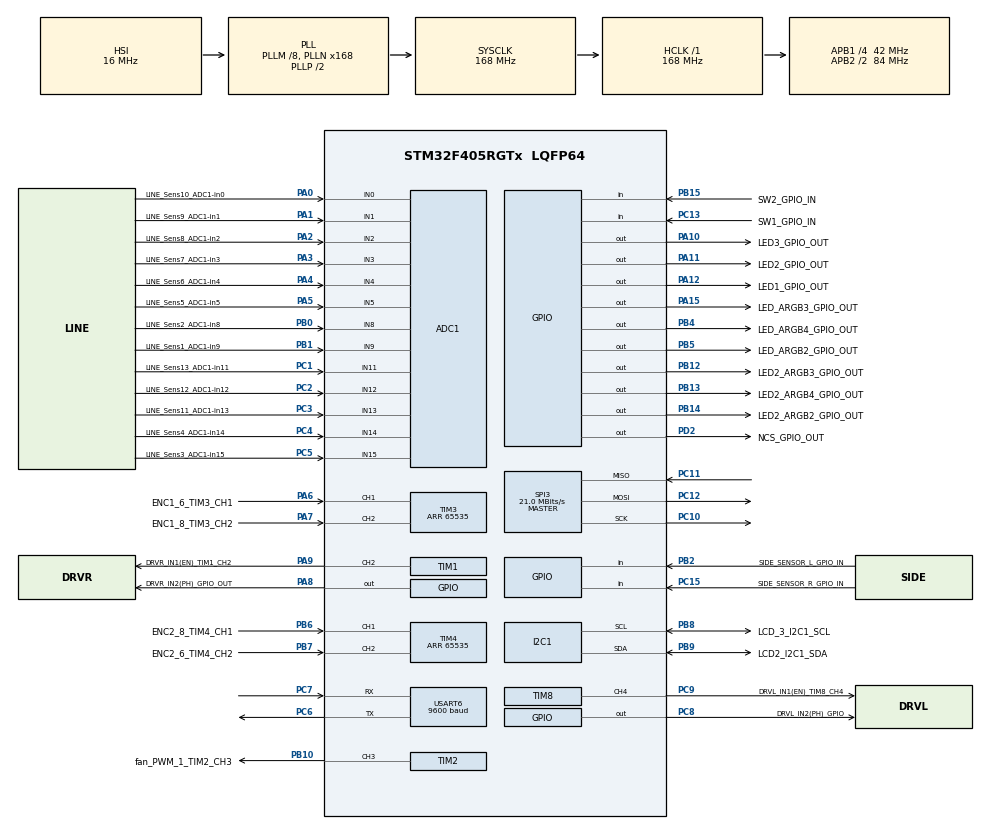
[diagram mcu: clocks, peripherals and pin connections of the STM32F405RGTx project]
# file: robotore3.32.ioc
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ADC1.Channel-0\#ChannelRegularConversion=ADC_CHANNEL_9
ADC1.Channel-1\#ChannelRegularConversion=ADC_CHANNEL_8
ADC1.Channel-10\#ChannelRegularConversion=ADC_CHANNEL_13
ADC1.Channel-11\#ChannelRegularConversion=ADC_CHANNEL_12
ADC1.Channel-12\#ChannelRegularConversion=ADC_CHANNEL_11
ADC1.Channel-2\#ChannelRegularConversion=ADC_CHANNEL_15
ADC1.Channel-3\#ChannelRegularConversion=ADC_CHANNEL_14
ADC1.Channel-4\#ChannelRegularConversion=ADC_CHANNEL_5
ADC1.Channel-5\#ChannelRegularConversion=ADC_CHANNEL_4
ADC1.Channel-6\#ChannelRegularConversion=ADC_CHANNEL_3
ADC1.Channel-7\#ChannelRegularConversion=ADC_CHANNEL_2
ADC1.Channel-8\#ChannelRegularConversion=ADC_CHANNEL_1
ADC1.Channel-9\#ChannelRegularConversion=ADC_CHANNEL_0
ADC1.ClockPrescaler=ADC_CLOCK_SYNC_PCLK_DIV4
ADC1.ContinuousConvMode=ENABLE
ADC1.DMAContinuousRequests=ENABLE
ADC1.NbrOfConversion=13
ADC1.NbrOfConversionFlag=1
ADC1.Rank-0\#ChannelRegularConversion=1
ADC1.Rank-1\#ChannelRegularConversion=2
ADC1.Rank-10\#ChannelRegularConversion=11
ADC1.Rank-11\#ChannelRegularConversion=12
ADC1.Rank-12\#ChannelRegularConversion=13
ADC1.Rank-2\#ChannelRegularConversion=3
ADC1.Rank-3\#ChannelRegularConversion=4
ADC1.Rank-4\#ChannelRegularConversion=5
ADC1.Rank-5\#ChannelRegularConversion=6
ADC1.Rank-6\#ChannelRegularConversion=7
ADC1.Rank-7\#ChannelRegularConversion=8
ADC1.Rank-8\#ChannelRegularConversion=9
ADC1.Rank-9\#ChannelRegularConversion=10
ADC1.SamplingTime-0\#ChannelRegularConversion=ADC_SAMPLETIME_480CYCLES
ADC1.SamplingTime-1\#ChannelRegularConversion=ADC_SAMPLETIME_480CYCLES
ADC1.SamplingTime-10\#ChannelRegularConversion=ADC_SAMPLETIME_480CYCLES
ADC1.SamplingTime-11\#ChannelRegularConversion=ADC_SAMPLETIME_480CYCLES
ADC1.SamplingTime-12\#ChannelRegularConversion=ADC_SAMPLETIME_480CYCLES
ADC1.SamplingTime-2\#ChannelRegularConversion=ADC_SAMPLETIME_480CYCLES
ADC1.SamplingTime-3\#ChannelRegularConversion=ADC_SAMPLETIME_480CYCLES
ADC1.SamplingTime-4\#ChannelRegularConversion=ADC_SAMPLETIME_480CYCLES
ADC1.SamplingTime-5\#ChannelRegularConversion=ADC_SAMPLETIME_480CYCLES
ADC1.SamplingTime-6\#ChannelRegularConversion=ADC_SAMPLETIME_480CYCLES
ADC1.SamplingTime-7\#ChannelRegularConversion=ADC_SAMPLETIME_480CYCLES
ADC1.SamplingTime-8\#ChannelRegularConversion=ADC_SAMPLETIME_480CYCLES
ADC1.SamplingTime-9\#ChannelRegularConversion=ADC_SAMPLETIME_480CYCLES
ADC1.ScanConvMode=ENABLE
ADC1.master=1
Dma.ADC1.0.Direction=DMA_PERIPH_TO_MEMORY
Dma.ADC1.0.FIFOMode=DMA_FIFOMODE_DISABLE
Dma.ADC1.0.Instance=DMA2_Stream0
Dma.ADC1.0.MemDataAlignment=DMA_MDATAALIGN_HALFWORD
Dma.ADC1.0.MemInc=DMA_MINC_ENABLE
Dma.ADC1.0.Mode=DMA_CIRCULAR
Dma.ADC1.0.PeriphDataAlignment=DMA_PDATAALIGN_HALFWORD
Dma.ADC1.0.PeriphInc=DMA_PINC_DISABLE
Dma.ADC1.0.Priority=DMA_PRIORITY_LOW
Dma.Request0=ADC1
Mcu.Family=STM32F4
Mcu.Name=STM32F405RGTx
Mcu.Package=LQFP64
NVIC.DMA2_Stream0_IRQn=true\:0\:0\:false\:false\:true\:false\:true\:true
NVIC.PriorityGroup=NVIC_PRIORITYGROUP_4
NVIC.TIM6_DAC_IRQn=true\:0\:0\:false\:false\:true\:true\:true\:true
NVIC.TIM7_IRQn=true\:0\:0\:false\:false\:true\:true\:true\:true
PA0-WKUP.GPIO_Label=LINE_Sens10_ADC1-in0
PA0-WKUP.Signal=ADCx_IN0
PA1.GPIO_Label=LINE_Sens9_ADC1-in1
PA1.Signal=ADCx_IN1
PA10.GPIO_Label=LED3_GPIO_OUT
PA10.Signal=GPIO_Output
PA11.GPIO_Label=LED2_GPIO_OUT
PA11.Signal=GPIO_Output
PA12.GPIO_Label=LED1_GPIO_OUT
PA12.Signal=GPIO_Output
PA13.Mode=Trace_Asynchronous_SW
PA13.Signal=SYS_JTMS-SWDIO
PA14.Mode=Trace_Asynchronous_SW
PA14.Signal=SYS_JTCK-SWCLK
PA15.GPIO_Label=LED_ARGB3_GPIO_OUT
PA15.Signal=GPIO_Output
PA2.GPIO_Label=LINE_Sens8_ADC1-in2
PA2.Signal=ADCx_IN2
PA3.GPIO_Label=LINE_Sens7_ADC1-in3
PA3.Signal=ADCx_IN3
PA4.GPIO_Label=LINE_Sens6_ADC1-in4
PA4.Signal=ADCx_IN4
PA5.GPIO_Label=LINE_Sens5_ADC1-in5
PA5.Signal=ADCx_IN5
PA6.GPIO_Label=ENC1_6_TIM3_CH1
PA6.Signal=S_TIM3_CH1
PA7.GPIO_Label=ENC1_8_TIM3_CH2
PA7.Signal=S_TIM3_CH2
PA8.GPIO_Label=DRVR_IN2(PH)_GPIO_OUT
PA8.Signal=GPIO_Output
PA9.GPIO_Label=DRVR_IN1(EN)_TIM1_CH2
PA9.Signal=S_TIM1_CH2
PB0.GPIO_Label=LINE_Sens2_ADC1-in8
PB0.Signal=ADCx_IN8
PB1.GPIO_Label=LINE_Sens1_ADC1-in9
PB1.Signal=ADCx_IN9
PB10.GPIO_Label=fan_PWM_1_TIM2_CH3
PB10.Signal=S_TIM2_CH3
PB12.GPIO_Label=LED2_ARGB3_GPIO_OUT
PB12.Signal=GPIO_Output
PB13.GPIO_Label=LED2_ARGB4_GPIO_OUT
PB13.Signal=GPIO_Output
PB14.GPIO_Label=LED2_ARGB2_GPIO_OUT
PB14.Signal=GPIO_Output
PB15.GPIO_Label=SW2_GPIO_IN
PB15.Signal=GPIO_Input
PB2.GPIO_Label=SIDE_SENSOR_L_GPIO_IN
PB2.Signal=GPIO_Input
PB3.Mode=Trace_Asynchronous_SW
PB3.Signal=SYS_JTDO-SWO
PB4.GPIO_Label=LED_ARGB4_GPIO_OUT
PB4.Signal=GPIO_Output
PB5.GPIO_Label=LED_ARGB2_GPIO_OUT
PB5.Signal=GPIO_Output
PB6.GPIO_Label=ENC2_8_TIM4_CH1
PB6.Signal=S_TIM4_CH1
PB7.GPIO_Label=ENC2_6_TIM4_CH2
PB7.Signal=S_TIM4_CH2
PB8.GPIO_Label=LCD_3_I2C1_SCL
PB8.Mode=I2C
PB8.Signal=I2C1_SCL
PB9.GPIO_Label=LCD2_I2C1_SDA
PB9.Mode=I2C
PB9.Signal=I2C1_SDA
PC1.GPIO_Label=LINE_Sens13_ADC1-in11
PC1.Signal=ADCx_IN11
PC10.Mode=Full_Duplex_Master
PC10.Signal=SPI3_SCK
PC11.Mode=Full_Duplex_Master
PC11.Signal=SPI3_MISO
PC12.Mode=Full_Duplex_Master
PC12.Signal=SPI3_MOSI
PC13-ANTI_TAMP.GPIO_Label=SW1_GPIO_IN
PC13-ANTI_TAMP.Signal=GPIO_Input
PC15-OSC32_OUT.GPIO_Label=SIDE_SENSOR_R_GPIO_IN
PC15-OSC32_OUT.Signal=GPIO_Input
PC2.GPIO_Label=LINE_Sens12_ADC1-in12
PC2.Signal=ADCx_IN12
PC3.GPIO_Label=LINE_Sens11_ADC1-in13
PC3.Signal=ADCx_IN13
PC4.GPIO_Label=LINE_Sens4_ADC1-in14
PC4.Signal=ADCx_IN14
PC5.GPIO_Label=LINE_Sens3_ADC1-in15
PC5.Signal=ADCx_IN15
PC6.Mode=Asynchronous
PC6.Signal=USART6_TX
PC7.Mode=Asynchronous
PC7.Signal=USART6_RX
PC8.GPIO_Label=DRVL_IN2(PH)_GPIO
PC8.Signal=GPIO_Output
PC9.GPIO_Label=DRVL_IN1(EN)_TIM8_CH4
PC9.Signal=S_TIM8_CH4
PD2.GPIO_Label=NCS_GPIO_OUT
PD2.Signal=GPIO_Output
PH0-OSC_IN.Mode=HSE-External-Oscillator
PH0-OSC_IN.Signal=RCC_OSC_IN
PH1-OSC_OUT.Mode=HSE-External-Oscillator
PH1-OSC_OUT.Signal=RCC_OSC_OUT
ProjectManager.HeapSize=0x200
ProjectManager.StackSize=0x400
ProjectManager.TargetToolchain=STM32CubeIDE
RCC.48MHZClocksFreq_Value=84000000
RCC.AHBFreq_Value=168000000
RCC.APB1CLKDivider=RCC_HCLK_DIV4
RCC.APB1Freq_Value=42000000
RCC.APB1TimFreq_Value=84000000
RCC.APB2CLKDivider=RCC_HCLK_DIV2
RCC.APB2Freq_Value=84000000
RCC.APB2TimFreq_Value=168000000
RCC.CortexFreq_Value=168000000
RCC.HCLKFreq_Value=168000000
RCC.HSE_VALUE=12000000
RCC.HSI_VALUE=16000000
RCC.LSE_VALUE=32768
RCC.PLLM=8
RCC.PLLN=168
RCC.SYSCLKFreq_VALUE=168000000
RCC.SYSCLKSource=RCC_SYSCLKSOURCE_PLLCLK
RCC.VCOOutputFreq_Value=336000000
SH.ADCx_IN0.0=ADC1_IN0,IN0
SH.ADCx_IN1.0=ADC1_IN1,IN1
SH.ADCx_IN11.0=ADC1_IN11,IN11
SH.ADCx_IN12.0=ADC1_IN12,IN12
SH.ADCx_IN13.0=ADC1_IN13,IN13
SH.ADCx_IN14.0=ADC1_IN14,IN14
SH.ADCx_IN15.0=ADC1_IN15,IN15
SH.ADCx_IN2.0=ADC1_IN2,IN2
SH.ADCx_IN3.0=ADC1_IN3,IN3
SH.ADCx_IN4.0=ADC1_IN4,IN4
SH.ADCx_IN5.0=ADC1_IN5,IN5
SH.ADCx_IN8.0=ADC1_IN8,IN8
SH.ADCx_IN9.0=ADC1_IN9,IN9
SH.S_TIM1_CH2.0=TIM1_CH2,PWM Generation2 CH2
SH.S_TIM2_CH3.0=TIM2_CH3,PWM Generation3 CH3
SH.S_TIM3_CH1.0=TIM3_CH1,Encoder_Interface
SH.S_TIM3_CH2.0=TIM3_CH2,Encoder_Interface
SH.S_TIM4_CH1.0=TIM4_CH1,Encoder_Interface
SH.S_TIM4_CH2.0=TIM4_CH2,Encoder_Interface
SH.S_TIM8_CH4.0=TIM8_CH4,PWM Generation4 CH4
SPI3.CalculateBaudRate=21.0 MBits/s
SPI3.Direction=SPI_DIRECTION_2LINES
SPI3.Mode=SPI_MODE_MASTER
SPI3.VirtualType=VM_MASTER
TIM1.Channel-PWM\ Generation2\ CH2=TIM_CHANNEL_2
TIM1.Period=499
TIM2.Channel-PWM\ Generation3\ CH3=TIM_CHANNEL_3
TIM2.Period=4095
TIM3.EncoderMode=TIM_ENCODERMODE_TI12
TIM3.Period=65535
TIM4.EncoderMode=TIM_ENCODERMODE_TI12
TIM4.Period=65535
TIM6.Period=999
TIM6.Prescaler=83
TIM7.Period=24999
TIM7.Prescaler=83
TIM8.Channel-PWM\ Generation4\ CH4=TIM_CHANNEL_4
TIM8.Period=499
USART6.BaudRate=9600
USART6.VirtualMode=VM_ASYNC
VP_TIM6_VS_ClockSourceINT.Mode=Enable_Timer
VP_TIM7_VS_ClockSourceINT.Mode=Enable_Timer
board=custom

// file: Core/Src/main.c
/* USER CODE BEGIN Header */
/* USER CODE END Header */
#include "main.h"

/* USER CODE BEGIN Includes */
#include "segment.h"
#include "some.h"

/* USER CODE END Includes */

/* USER CODE BEGIN PTD */
//uint16_t Line_sens[13];
/* USER CODE END PTD */

/* USER CODE BEGIN PM */

uint16_t test_flag;
float average_cross;

/* USER CODE END PM */

ADC_HandleTypeDef hadc1;
DMA_HandleTypeDef hdma_adc1;

I2C_HandleTypeDef hi2c1;

SPI_HandleTypeDef hspi3;

TIM_HandleTypeDef htim1;
TIM_HandleTypeDef htim2;
TIM_HandleTypeDef htim3;
TIM_HandleTypeDef htim4;
TIM_HandleTypeDef htim6;
TIM_HandleTypeDef htim7;
TIM_HandleTypeDef htim8;

UART_HandleTypeDef huart6;

void SystemClock_Config(void);
static void MX_GPIO_Init(void);
static void MX_DMA_Init(void);
static void MX_ADC1_Init(void);
static void MX_TIM1_Init(void);
static void MX_TIM2_Init(void);
static void MX_TIM4_Init(void);
static void MX_TIM8_Init(void);
static void MX_TIM3_Init(void);
static void MX_I2C1_Init(void);
static void MX_SPI3_Init(void);
static void MX_USART6_UART_Init(void);
static void MX_TIM6_Init(void);
static void MX_TIM7_Init(void);

/* USER CODE BEGIN 0 */
//void HAL_TIM_PeriodElapsedCallback(TIM_HandleTypeDef *htim6) {
//	SpeedControl_NoENC();
////	calculateEncoderSpeed();
//
//
//	readSens2();
////	EncoderSpeed();
//
//}

void HAL_TIM_PeriodElapsedCallback(TIM_HandleTypeDef *htim) {

	if(htim->Instance == TIM6){
		SpeedControl_NoENC();
		readSens2();

	}
	 if(htim->Instance == TIM7){

	        if(runMode == MODE_RECORD) {
	            VelocityPlan();

	            if(marker_flag){
	                marker_idx[marker_cnt++] = record_index - 1;
	                marker_flag = 0;
	            }
	        }

	        else if(runMode == MODE_PLAY) {
	            /* マーカーが来たら次のセグメントへ切り替え */
	        	if (marker_flag > 0) {
	        	    marker_flag = 0;

	        	    if (++curSeg < segCnt) {
	        	        target_speed = segTbl[curSeg].speed;
	        	    }
	            }
	        }
	    }

}
void HAL_ADC_ConvCpltCallback(ADC_HandleTypeDef *AdcHandle) {//AD
}
/* USER CODE END 0 */

int main(void)
{

  /* MCU Configuration--------------------------------------------------------*/

  /* Reset of all peripherals, Initializes the Flash interface and the Systick. */
  HAL_Init();

  /* Configure the system clock */
  SystemClock_Config();

  /* Initialize all configured peripherals */
  MX_GPIO_Init();
  MX_DMA_Init();
  MX_ADC1_Init();
  MX_TIM1_Init();
  MX_TIM2_Init();
  MX_TIM4_Init();
  MX_TIM8_Init();
  MX_TIM3_Init();
  MX_I2C1_Init();
  MX_SPI3_Init();
  MX_USART6_UART_Init();
  MX_TIM6_Init();
  MX_TIM7_Init();
  /* USER CODE BEGIN 2 */
	if (HAL_ADC_Start_DMA(&hadc1, (uint32_t*) Line_sens, 13) != HAL_OK) {
		Error_Handler();
	}
	HAL_TIM_Encoder_Start_IT(&htim3, TIM_CHANNEL_ALL);	//ENC1
	HAL_TIM_Encoder_Start_IT(&htim4, TIM_CHANNEL_ALL);	//ENC2

	//TIM4->CNT = OFFSET;
	//TIM3->CNT = OFFSET;

	HAL_TIM_PWM_Start_IT(&htim1, TIM_CHANNEL_2);	//DRVR
	HAL_TIM_PWM_Start_IT(&htim8, TIM_CHANNEL_4);	//DRVL

	HAL_TIM_PWM_Start_IT(&htim2, TIM_CHANNEL_3);	//fan

	//PW-re
	__HAL_TIM_SET_COMPARE(&htim1, TIM_CHANNEL_2, 0);
	__HAL_TIM_SET_COMPARE(&htim8, TIM_CHANNEL_4, 0);
	__HAL_TIM_SET_COMPARE(&htim2, TIM_CHANNEL_3, 0);

	HAL_GPIO_WritePin(GPIOA, GPIO_PIN_12, GPIO_PIN_RESET);	//LED1
	HAL_GPIO_WritePin(GPIOA, GPIO_PIN_11, GPIO_PIN_SET);	//LED2
	HAL_GPIO_WritePin(GPIOA, GPIO_PIN_10, GPIO_PIN_SET);	//LED3

	HAL_GPIO_WritePin(GPIOB, GPIO_PIN_5, GPIO_PIN_RESET);	//R_1-2
	HAL_GPIO_WritePin(GPIOA, GPIO_PIN_15, GPIO_PIN_SET);	//G_1-3
	HAL_GPIO_WritePin(GPIOB, GPIO_PIN_4, GPIO_PIN_SET);	//B_1-4

	HAL_GPIO_WritePin(GPIOB, GPIO_PIN_14, GPIO_PIN_RESET);	//R_2-2
	HAL_GPIO_WritePin(GPIOB, GPIO_PIN_12, GPIO_PIN_SET);	//G_2-3
	HAL_GPIO_WritePin(GPIOB, GPIO_PIN_13, GPIO_PIN_SET);	//B_2-4

	ControlMotor(0, 0);
	test_flag = 0;
//	calculateEncoderSpeed();//初期化
//	HAL_TIM_Base_Start_IT(&htim6);

//	  HAL_TIM_Base_Start_IT(&htim7);//test

  /* USER CODE END 2 */

  /* Infinite loop */
  /* USER CODE BEGIN WHILE */
	while (1) {
		change_mode();

//		 printf("USART6 test\r\n");
//		 HAL_Delay(1000);

//		 HAL_UART_Transmit(&huart6, (uint8_t*)"USART6 test\r\n", 13, HAL_MAX_DELAY);

	}

    /* USER CODE END WHILE */

    /* USER CODE BEGIN 3 */

//  calibrate_sensors();
//  HAL_Delay(500);
//  base_speed1=-120;

// LED_RGB_2(0);
//  HAL_TIM_Base_Start_IT(&htim6);

  /* USER CODE END 3 */
}

void SystemClock_Config(void)
{
  RCC_OscInitTypeDef RCC_OscInitStruct = {0};
  RCC_ClkInitTypeDef RCC_ClkInitStruct = {0};

  /** Configure the main internal regulator output voltage
  */
  __HAL_RCC_PWR_CLK_ENABLE();
  __HAL_PWR_VOLTAGESCALING_CONFIG(PWR_REGULATOR_VOLTAGE_SCALE1);

  /** Initializes the RCC Oscillators according to the specified parameters
  * in the RCC_OscInitTypeDef structure.
  */
  RCC_OscInitStruct.OscillatorType = RCC_OSCILLATORTYPE_HSI;
  RCC_OscInitStruct.HSIState = RCC_HSI_ON;
  RCC_OscInitStruct.HSICalibrationValue = RCC_HSICALIBRATION_DEFAULT;
  RCC_OscInitStruct.PLL.PLLState = RCC_PLL_ON;
  RCC_OscInitStruct.PLL.PLLSource = RCC_PLLSOURCE_HSI;
  RCC_OscInitStruct.PLL.PLLM = 8;
  RCC_OscInitStruct.PLL.PLLN = 168;
  RCC_OscInitStruct.PLL.PLLP = RCC_PLLP_DIV2;
  RCC_OscInitStruct.PLL.PLLQ = 4;
  if (HAL_RCC_OscConfig(&RCC_OscInitStruct) != HAL_OK)
  {
    Error_Handler();
  }

  /** Initializes the CPU, AHB and APB buses clocks
  */
  RCC_ClkInitStruct.ClockType = RCC_CLOCKTYPE_HCLK|RCC_CLOCKTYPE_SYSCLK
                              |RCC_CLOCKTYPE_PCLK1|RCC_CLOCKTYPE_PCLK2;
  RCC_ClkInitStruct.SYSCLKSource = RCC_SYSCLKSOURCE_PLLCLK;
  RCC_ClkInitStruct.AHBCLKDivider = RCC_SYSCLK_DIV1;
  RCC_ClkInitStruct.APB1CLKDivider = RCC_HCLK_DIV4;
  RCC_ClkInitStruct.APB2CLKDivider = RCC_HCLK_DIV2;

  if (HAL_RCC_ClockConfig(&RCC_ClkInitStruct, FLASH_LATENCY_5) != HAL_OK)
  {
    Error_Handler();
  }
}

static void MX_ADC1_Init(void)
{

  ADC_ChannelConfTypeDef sConfig = {0};

  /** Configure the global features of the ADC (Clock, Resolution, Data Alignment and number of conversion)
  */
  hadc1.Instance = ADC1;
  hadc1.Init.ClockPrescaler = ADC_CLOCK_SYNC_PCLK_DIV4;
  hadc1.Init.Resolution = ADC_RESOLUTION_12B;
  hadc1.Init.ScanConvMode = ENABLE;
  hadc1.Init.ContinuousConvMode = ENABLE;
  hadc1.Init.DiscontinuousConvMode = DISABLE;
  hadc1.Init.ExternalTrigConvEdge = ADC_EXTERNALTRIGCONVEDGE_NONE;
  hadc1.Init.ExternalTrigConv = ADC_SOFTWARE_START;
  hadc1.Init.DataAlign = ADC_DATAALIGN_RIGHT;
  hadc1.Init.NbrOfConversion = 13;
  hadc1.Init.DMAContinuousRequests = ENABLE;
  hadc1.Init.EOCSelection = ADC_EOC_SINGLE_CONV;
  if (HAL_ADC_Init(&hadc1) != HAL_OK)
  {
    Error_Handler();
  }

  /** Configure for the selected ADC regular channel its corresponding rank in the sequencer and its sample time.
  */
  sConfig.Channel = ADC_CHANNEL_9;
  sConfig.Rank = 1;
  sConfig.SamplingTime = ADC_SAMPLETIME_480CYCLES;
  if (HAL_ADC_ConfigChannel(&hadc1, &sConfig) != HAL_OK)
  {
    Error_Handler();
  }

  /** Configure for the selected ADC regular channel its corresponding rank in the sequencer and its sample time.
  */
  sConfig.Channel = ADC_CHANNEL_8;
  sConfig.Rank = 2;
  if (HAL_ADC_ConfigChannel(&hadc1, &sConfig) != HAL_OK)
  {
    Error_Handler();
  }

  /** Configure for the selected ADC regular channel its corresponding rank in the sequencer and its sample time.
  */
  sConfig.Channel = ADC_CHANNEL_15;
  sConfig.Rank = 3;
  if (HAL_ADC_ConfigChannel(&hadc1, &sConfig) != HAL_OK)
  {
    Error_Handler();
  }

  /** Configure for the selected ADC regular channel its corresponding rank in the sequencer and its sample time.
  */
  sConfig.Channel = ADC_CHANNEL_14;
  sConfig.Rank = 4;
  if (HAL_ADC_ConfigChannel(&hadc1, &sConfig) != HAL_OK)
  {
    Error_Handler();
  }

  /** Configure for the selected ADC regular channel its corresponding rank in the sequencer and its sample time.
  */
  sConfig.Channel = ADC_CHANNEL_5;
  sConfig.Rank = 5;
  if (HAL_ADC_ConfigChannel(&hadc1, &sConfig) != HAL_OK)
  {
    Error_Handler();
  }

  /** Configure for the selected ADC regular channel its corresponding rank in the sequencer and its sample time.
  */
  sConfig.Channel = ADC_CHANNEL_4;
  sConfig.Rank = 6;
  if (HAL_ADC_ConfigChannel(&hadc1, &sConfig) != HAL_OK)
  {
    Error_Handler();
  }

  /** Configure for the selected ADC regular channel its corresponding rank in the sequencer and its sample time.
  */
  sConfig.Channel = ADC_CHANNEL_3;
  sConfig.Rank = 7;
  if (HAL_ADC_ConfigChannel(&hadc1, &sConfig) != HAL_OK)
  {
    Error_Handler();
  }

  /** Configure for the selected ADC regular channel its corresponding rank in the sequencer and its sample time.
  */
  sConfig.Channel = ADC_CHANNEL_2;
  sConfig.Rank = 8;
  if (HAL_ADC_ConfigChannel(&hadc1, &sConfig) != HAL_OK)
  {
    Error_Handler();
  }

  /** Configure for the selected ADC regular channel its corresponding rank in the sequencer and its sample time.
  */
  sConfig.Channel = ADC_CHANNEL_1;
  sConfig.Rank = 9;
  if (HAL_ADC_ConfigChannel(&hadc1, &sConfig) != HAL_OK)
  {
    Error_Handler();
  }

  /** Configure for the selected ADC regular channel its corresponding rank in the sequencer and its sample time.
  */
  sConfig.Channel = ADC_CHANNEL_0;
  sConfig.Rank = 10;
  if (HAL_ADC_ConfigChannel(&hadc1, &sConfig) != HAL_OK)
  {
    Error_Handler();
  }

  /** Configure for the selected ADC regular channel its corresponding rank in the sequencer and its sample time.
  */
  sConfig.Channel = ADC_CHANNEL_13;
  sConfig.Rank = 11;
  if (HAL_ADC_ConfigChannel(&hadc1, &sConfig) != HAL_OK)
  {
    Error_Handler();
  }

  /** Configure for the selected ADC regular channel its corresponding rank in the sequencer and its sample time.
  */
  sConfig.Channel = ADC_CHANNEL_12;
  sConfig.Rank = 12;
  if (HAL_ADC_ConfigChannel(&hadc1, &sConfig) != HAL_OK)
  {
    Error_Handler();
  }

  /** Configure for the selected ADC regular channel its corresponding rank in the sequencer and its sample time.
  */
  sConfig.Channel = ADC_CHANNEL_11;
  sConfig.Rank = 13;
  if (HAL_ADC_ConfigChannel(&hadc1, &sConfig) != HAL_OK)
  {
    Error_Handler();
  }

}

static void MX_I2C1_Init(void)
{

  hi2c1.Instance = I2C1;
  hi2c1.Init.ClockSpeed = 100000;
  hi2c1.Init.DutyCycle = I2C_DUTYCYCLE_2;
  hi2c1.Init.OwnAddress1 = 0;
  hi2c1.Init.AddressingMode = I2C_ADDRESSINGMODE_7BIT;
  hi2c1.Init.DualAddressMode = I2C_DUALADDRESS_DISABLE;
  hi2c1.Init.OwnAddress2 = 0;
  hi2c1.Init.GeneralCallMode = I2C_GENERALCALL_DISABLE;
  hi2c1.Init.NoStretchMode = I2C_NOSTRETCH_DISABLE;
  if (HAL_I2C_Init(&hi2c1) != HAL_OK)
  {
    Error_Handler();
  }

}

static void MX_SPI3_Init(void)
{

  /* SPI3 parameter configuration*/
  hspi3.Instance = SPI3;
  hspi3.Init.Mode = SPI_MODE_MASTER;
  hspi3.Init.Direction = SPI_DIRECTION_2LINES;
  hspi3.Init.DataSize = SPI_DATASIZE_8BIT;
  hspi3.Init.CLKPolarity = SPI_POLARITY_LOW;
  hspi3.Init.CLKPhase = SPI_PHASE_1EDGE;
  hspi3.Init.NSS = SPI_NSS_SOFT;
  hspi3.Init.BaudRatePrescaler = SPI_BAUDRATEPRESCALER_2;
  hspi3.Init.FirstBit = SPI_FIRSTBIT_MSB;
  hspi3.Init.TIMode = SPI_TIMODE_DISABLE;
  hspi3.Init.CRCCalculation = SPI_CRCCALCULATION_DISABLE;
  hspi3.Init.CRCPolynomial = 10;
  if (HAL_SPI_Init(&hspi3) != HAL_OK)
  {
    Error_Handler();
  }

}

static void MX_TIM1_Init(void)
{

  TIM_MasterConfigTypeDef sMasterConfig = {0};
  TIM_OC_InitTypeDef sConfigOC = {0};
  TIM_BreakDeadTimeConfigTypeDef sBreakDeadTimeConfig = {0};

  htim1.Instance = TIM1;
  htim1.Init.Prescaler = 0;
  htim1.Init.CounterMode = TIM_COUNTERMODE_UP;
  htim1.Init.Period = 499;
  htim1.Init.ClockDivision = TIM_CLOCKDIVISION_DIV1;
  htim1.Init.RepetitionCounter = 0;
  htim1.Init.AutoReloadPreload = TIM_AUTORELOAD_PRELOAD_DISABLE;
  if (HAL_TIM_PWM_Init(&htim1) != HAL_OK)
  {
    Error_Handler();
  }
  sMasterConfig.MasterOutputTrigger = TIM_TRGO_RESET;
  sMasterConfig.MasterSlaveMode = TIM_MASTERSLAVEMODE_DISABLE;
  if (HAL_TIMEx_MasterConfigSynchronization(&htim1, &sMasterConfig) != HAL_OK)
  {
    Error_Handler();
  }
  sConfigOC.OCMode = TIM_OCMODE_PWM1;
  sConfigOC.Pulse = 0;
  sConfigOC.OCPolarity = TIM_OCPOLARITY_HIGH;
  sConfigOC.OCNPolarity = TIM_OCNPOLARITY_HIGH;
  sConfigOC.OCFastMode = TIM_OCFAST_DISABLE;
  sConfigOC.OCIdleState = TIM_OCIDLESTATE_RESET;
  sConfigOC.OCNIdleState = TIM_OCNIDLESTATE_RESET;
  if (HAL_TIM_PWM_ConfigChannel(&htim1, &sConfigOC, TIM_CHANNEL_2) != HAL_OK)
  {
    Error_Handler();
  }
  sBreakDeadTimeConfig.OffStateRunMode = TIM_OSSR_DISABLE;
  sBreakDeadTimeConfig.OffStateIDLEMode = TIM_OSSI_DISABLE;
  sBreakDeadTimeConfig.LockLevel = TIM_LOCKLEVEL_OFF;
  sBreakDeadTimeConfig.DeadTime = 0;
  sBreakDeadTimeConfig.BreakState = TIM_BREAK_DISABLE;
  sBreakDeadTimeConfig.BreakPolarity = TIM_BREAKPOLARITY_HIGH;
  sBreakDeadTimeConfig.AutomaticOutput = TIM_AUTOMATICOUTPUT_DISABLE;
  if (HAL_TIMEx_ConfigBreakDeadTime(&htim1, &sBreakDeadTimeConfig) != HAL_OK)
  {
    Error_Handler();
  }
  HAL_TIM_MspPostInit(&htim1);

}

static void MX_TIM2_Init(void)
{

  TIM_MasterConfigTypeDef sMasterConfig = {0};
  TIM_OC_InitTypeDef sConfigOC = {0};

  htim2.Instance = TIM2;
  htim2.Init.Prescaler = 0;
  htim2.Init.CounterMode = TIM_COUNTERMODE_UP;
  htim2.Init.Period = 4095;
  htim2.Init.ClockDivision = TIM_CLOCKDIVISION_DIV1;
  htim2.Init.AutoReloadPreload = TIM_AUTORELOAD_PRELOAD_DISABLE;
  if (HAL_TIM_PWM_Init(&htim2) != HAL_OK)
  {
    Error_Handler();
  }
  sMasterConfig.MasterOutputTrigger = TIM_TRGO_RESET;
  sMasterConfig.MasterSlaveMode = TIM_MASTERSLAVEMODE_DISABLE;
  if (HAL_TIMEx_MasterConfigSynchronization(&htim2, &sMasterConfig) != HAL_OK)
  {
    Error_Handler();
  }
  sConfigOC.OCMode = TIM_OCMODE_PWM1;
  sConfigOC.Pulse = 0;
  sConfigOC.OCPolarity = TIM_OCPOLARITY_HIGH;
  sConfigOC.OCFastMode = TIM_OCFAST_DISABLE;
  if (HAL_TIM_PWM_ConfigChannel(&htim2, &sConfigOC, TIM_CHANNEL_3) != HAL_OK)
  {
    Error_Handler();
  }
  HAL_TIM_MspPostInit(&htim2);

}

static void MX_TIM3_Init(void)
{

  TIM_Encoder_InitTypeDef sConfig = {0};
  TIM_MasterConfigTypeDef sMasterConfig = {0};

  htim3.Instance = TIM3;
  htim3.Init.Prescaler = 0;
  htim3.Init.CounterMode = TIM_COUNTERMODE_UP;
  htim3.Init.Period = 65535;
  htim3.Init.ClockDivision = TIM_CLOCKDIVISION_DIV1;
  htim3.Init.AutoReloadPreload = TIM_AUTORELOAD_PRELOAD_DISABLE;
  sConfig.EncoderMode = TIM_ENCODERMODE_TI12;
  sConfig.IC1Polarity = TIM_ICPOLARITY_RISING;
  sConfig.IC1Selection = TIM_ICSELECTION_DIRECTTI;
  sConfig.IC1Prescaler = TIM_ICPSC_DIV1;
  sConfig.IC1Filter = 0;
  sConfig.IC2Polarity = TIM_ICPOLARITY_RISING;
  sConfig.IC2Selection = TIM_ICSELECTION_DIRECTTI;
  sConfig.IC2Prescaler = TIM_ICPSC_DIV1;
  sConfig.IC2Filter = 0;
  if (HAL_TIM_Encoder_Init(&htim3, &sConfig) != HAL_OK)
  {
    Error_Handler();
  }
  sMasterConfig.MasterOutputTrigger = TIM_TRGO_RESET;
  sMasterConfig.MasterSlaveMode = TIM_MASTERSLAVEMODE_DISABLE;
  if (HAL_TIMEx_MasterConfigSynchronization(&htim3, &sMasterConfig) != HAL_OK)
  {
    Error_Handler();
  }

}

static void MX_TIM4_Init(void)
{

  TIM_Encoder_InitTypeDef sConfig = {0};
  TIM_MasterConfigTypeDef sMasterConfig = {0};

  htim4.Instance = TIM4;
  htim4.Init.Prescaler = 0;
  htim4.Init.CounterMode = TIM_COUNTERMODE_UP;
  htim4.Init.Period = 65535;
  htim4.Init.ClockDivision = TIM_CLOCKDIVISION_DIV1;
  htim4.Init.AutoReloadPreload = TIM_AUTORELOAD_PRELOAD_DISABLE;
  sConfig.EncoderMode = TIM_ENCODERMODE_TI12;
  sConfig.IC1Polarity = TIM_ICPOLARITY_RISING;
  sConfig.IC1Selection = TIM_ICSELECTION_DIRECTTI;
  sConfig.IC1Prescaler = TIM_ICPSC_DIV1;
  sConfig.IC1Filter = 0;
  sConfig.IC2Polarity = TIM_ICPOLARITY_RISING;
  sConfig.IC2Selection = TIM_ICSELECTION_DIRECTTI;
  sConfig.IC2Prescaler = TIM_ICPSC_DIV1;
  sConfig.IC2Filter = 0;
  if (HAL_TIM_Encoder_Init(&htim4, &sConfig) != HAL_OK)
  {
    Error_Handler();
  }
  sMasterConfig.MasterOutputTrigger = TIM_TRGO_RESET;
  sMasterConfig.MasterSlaveMode = TIM_MASTERSLAVEMODE_DISABLE;
  if (HAL_TIMEx_MasterConfigSynchronization(&htim4, &sMasterConfig) != HAL_OK)
  {
    Error_Handler();
  }

}

static void MX_TIM6_Init(void)
{

  TIM_MasterConfigTypeDef sMasterConfig = {0};

  htim6.Instance = TIM6;
  htim6.Init.Prescaler = 83;
  htim6.Init.CounterMode = TIM_COUNTERMODE_UP;
  htim6.Init.Period = 999;
  htim6.Init.AutoReloadPreload = TIM_AUTORELOAD_PRELOAD_DISABLE;
  if (HAL_TIM_Base_Init(&htim6) != HAL_OK)
  {
    Error_Handler();
  }
  sMasterConfig.MasterOutputTrigger = TIM_TRGO_RESET;
  sMasterConfig.MasterSlaveMode = TIM_MASTERSLAVEMODE_DISABLE;
  if (HAL_TIMEx_MasterConfigSynchronization(&htim6, &sMasterConfig) != HAL_OK)
  {
    Error_Handler();
  }

}

static void MX_TIM7_Init(void)
{

  TIM_MasterConfigTypeDef sMasterConfig = {0};

  htim7.Instance = TIM7;
  htim7.Init.Prescaler = 83;
  htim7.Init.CounterMode = TIM_COUNTERMODE_UP;
  htim7.Init.Period = 24999;
  htim7.Init.AutoReloadPreload = TIM_AUTORELOAD_PRELOAD_DISABLE;
  if (HAL_TIM_Base_Init(&htim7) != HAL_OK)
  {
    Error_Handler();
  }
  sMasterConfig.MasterOutputTrigger = TIM_TRGO_RESET;
  sMasterConfig.MasterSlaveMode = TIM_MASTERSLAVEMODE_DISABLE;
  if (HAL_TIMEx_MasterConfigSynchronization(&htim7, &sMasterConfig) != HAL_OK)
  {
    Error_Handler();
  }

}

static void MX_TIM8_Init(void)
{

  TIM_MasterConfigTypeDef sMasterConfig = {0};
  TIM_OC_InitTypeDef sConfigOC = {0};
  TIM_BreakDeadTimeConfigTypeDef sBreakDeadTimeConfig = {0};

  htim8.Instance = TIM8;
  htim8.Init.Prescaler = 0;
  htim8.Init.CounterMode = TIM_COUNTERMODE_UP;
  htim8.Init.Period = 499;
  htim8.Init.ClockDivision = TIM_CLOCKDIVISION_DIV1;
  htim8.Init.RepetitionCounter = 0;
  htim8.Init.AutoReloadPreload = TIM_AUTORELOAD_PRELOAD_DISABLE;
  if (HAL_TIM_PWM_Init(&htim8) != HAL_OK)
  {
    Error_Handler();
  }
  sMasterConfig.MasterOutputTrigger = TIM_TRGO_RESET;
  sMasterConfig.MasterSlaveMode = TIM_MASTERSLAVEMODE_DISABLE;
  if (HAL_TIMEx_MasterConfigSynchronization(&htim8, &sMasterConfig) != HAL_OK)
  {
    Error_Handler();
  }
  sConfigOC.OCMode = TIM_OCMODE_PWM1;
  sConfigOC.Pulse = 0;
  sConfigOC.OCPolarity = TIM_OCPOLARITY_HIGH;
  sConfigOC.OCFastMode = TIM_OCFAST_DISABLE;
  sConfigOC.OCIdleState = TIM_OCIDLESTATE_RESET;
  sConfigOC.OCNIdleState = TIM_OCNIDLESTATE_RESET;
  if (HAL_TIM_PWM_ConfigChannel(&htim8, &sConfigOC, TIM_CHANNEL_4) != HAL_OK)
  {
    Error_Handler();
  }
  sBreakDeadTimeConfig.OffStateRunMode = TIM_OSSR_DISABLE;
  sBreakDeadTimeConfig.OffStateIDLEMode = TIM_OSSI_DISABLE;
  sBreakDeadTimeConfig.LockLevel = TIM_LOCKLEVEL_OFF;
  sBreakDeadTimeConfig.DeadTime = 0;
  sBreakDeadTimeConfig.BreakState = TIM_BREAK_DISABLE;
  sBreakDeadTimeConfig.BreakPolarity = TIM_BREAKPOLARITY_HIGH;
  sBreakDeadTimeConfig.AutomaticOutput = TIM_AUTOMATICOUTPUT_DISABLE;
  if (HAL_TIMEx_ConfigBreakDeadTime(&htim8, &sBreakDeadTimeConfig) != HAL_OK)
  {
    Error_Handler();
  }
  HAL_TIM_MspPostInit(&htim8);

}

static void MX_USART6_UART_Init(void)
{

  huart6.Instance = USART6;
  huart6.Init.BaudRate = 9600;
  huart6.Init.WordLength = UART_WORDLENGTH_8B;
  huart6.Init.StopBits = UART_STOPBITS_1;
  huart6.Init.Parity = UART_PARITY_NONE;
  huart6.Init.Mode = UART_MODE_TX_RX;
  huart6.Init.HwFlowCtl = UART_HWCONTROL_NONE;
  huart6.Init.OverSampling = UART_OVERSAMPLING_16;
  if (HAL_UART_Init(&huart6) != HAL_OK)
  {
    Error_Handler();
  }

}

static void MX_DMA_Init(void)
{

  /* DMA controller clock enable */
  __HAL_RCC_DMA2_CLK_ENABLE();

  /* DMA interrupt init */
  /* DMA2_Stream0_IRQn interrupt configuration */
  HAL_NVIC_SetPriority(DMA2_Stream0_IRQn, 0, 0);
  HAL_NVIC_EnableIRQ(DMA2_Stream0_IRQn);

}

static void MX_GPIO_Init(void)
{
  GPIO_InitTypeDef GPIO_InitStruct = {0};

  /* GPIO Ports Clock Enable */
  __HAL_RCC_GPIOC_CLK_ENABLE();
  __HAL_RCC_GPIOH_CLK_ENABLE();
  __HAL_RCC_GPIOA_CLK_ENABLE();
  __HAL_RCC_GPIOB_CLK_ENABLE();
  __HAL_RCC_GPIOD_CLK_ENABLE();

  /*Configure GPIO pin Output Level */
  HAL_GPIO_WritePin(GPIOB, LED2_ARGB3_GPIO_OUT_Pin|LED2_ARGB4_GPIO_OUT_Pin|LED2_ARGB2_GPIO_OUT_Pin|LED_ARGB4_GPIO_OUT_Pin
                          |LED_ARGB2_GPIO_OUT_Pin, GPIO_PIN_RESET);

  /*Configure GPIO pin Output Level */
  HAL_GPIO_WritePin(DRVL_IN2_GPIO_GPIO_Port, DRVL_IN2_GPIO_Pin, GPIO_PIN_RESET);

  /*Configure GPIO pin Output Level */
  HAL_GPIO_WritePin(GPIOA, DRVR_IN2_GPIO_OUT_Pin|LED3_GPIO_OUT_Pin|LED2_GPIO_OUT_Pin|LED1_GPIO_OUT_Pin
                          |LED_ARGB3_GPIO_OUT_Pin, GPIO_PIN_RESET);

  /*Configure GPIO pin Output Level */
  HAL_GPIO_WritePin(NCS_GPIO_OUT_GPIO_Port, NCS_GPIO_OUT_Pin, GPIO_PIN_RESET);

  /*Configure GPIO pins : SW1_GPIO_IN_Pin SIDE_SENSOR_R_GPIO_IN_Pin */
  GPIO_InitStruct.Pin = SW1_GPIO_IN_Pin|SIDE_SENSOR_R_GPIO_IN_Pin;
  GPIO_InitStruct.Mode = GPIO_MODE_INPUT;
  GPIO_InitStruct.Pull = GPIO_NOPULL;
  HAL_GPIO_Init(GPIOC, &GPIO_InitStruct);

  /*Configure GPIO pins : SIDE_SENSOR_L_GPIO_IN_Pin SW2_GPIO_IN_Pin */
  GPIO_InitStruct.Pin = SIDE_SENSOR_L_GPIO_IN_Pin|SW2_GPIO_IN_Pin;
  GPIO_InitStruct.Mode = GPIO_MODE_INPUT;
  GPIO_InitStruct.Pull = GPIO_NOPULL;
  HAL_GPIO_Init(GPIOB, &GPIO_InitStruct);

  /*Configure GPIO pins : LED2_ARGB3_GPIO_OUT_Pin LED2_ARGB4_GPIO_OUT_Pin LED2_ARGB2_GPIO_OUT_Pin LED_ARGB4_GPIO_OUT_Pin
                           LED_ARGB2_GPIO_OUT_Pin */
  GPIO_InitStruct.Pin = LED2_ARGB3_GPIO_OUT_Pin|LED2_ARGB4_GPIO_OUT_Pin|LED2_ARGB2_GPIO_OUT_Pin|LED_ARGB4_GPIO_OUT_Pin
                          |LED_ARGB2_GPIO_OUT_Pin;
  GPIO_InitStruct.Mode = GPIO_MODE_OUTPUT_PP;
  GPIO_InitStruct.Pull = GPIO_NOPULL;
  GPIO_InitStruct.Speed = GPIO_SPEED_FREQ_LOW;
  HAL_GPIO_Init(GPIOB, &GPIO_InitStruct);

  /*Configure GPIO pin : DRVL_IN2_GPIO_Pin */
  GPIO_InitStruct.Pin = DRVL_IN2_GPIO_Pin;
  GPIO_InitStruct.Mode = GPIO_MODE_OUTPUT_PP;
  GPIO_InitStruct.Pull = GPIO_NOPULL;
  GPIO_InitStruct.Speed = GPIO_SPEED_FREQ_LOW;
  HAL_GPIO_Init(DRVL_IN2_GPIO_GPIO_Port, &GPIO_InitStruct);

  /*Configure GPIO pins : DRVR_IN2_GPIO_OUT_Pin LED3_GPIO_OUT_Pin LED2_GPIO_OUT_Pin LED1_GPIO_OUT_Pin
                           LED_ARGB3_GPIO_OUT_Pin */
  GPIO_InitStruct.Pin = DRVR_IN2_GPIO_OUT_Pin|LED3_GPIO_OUT_Pin|LED2_GPIO_OUT_Pin|LED1_GPIO_OUT_Pin
                          |LED_ARGB3_GPIO_OUT_Pin;
  GPIO_InitStruct.Mode = GPIO_MODE_OUTPUT_PP;
  GPIO_InitStruct.Pull = GPIO_NOPULL;
  GPIO_InitStruct.Speed = GPIO_SPEED_FREQ_LOW;
  HAL_GPIO_Init(GPIOA, &GPIO_InitStruct);

  /*Configure GPIO pin : NCS_GPIO_OUT_Pin */
  GPIO_InitStruct.Pin = NCS_GPIO_OUT_Pin;
  GPIO_InitStruct.Mode = GPIO_MODE_OUTPUT_PP;
  GPIO_InitStruct.Pull = GPIO_NOPULL;
  GPIO_InitStruct.Speed = GPIO_SPEED_FREQ_LOW;
  HAL_GPIO_Init(NCS_GPIO_OUT_GPIO_Port, &GPIO_InitStruct);

}

void Error_Handler(void)
{
}
